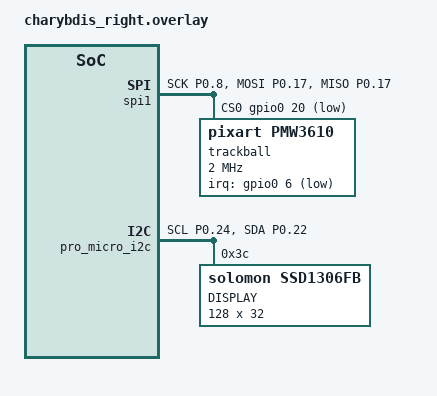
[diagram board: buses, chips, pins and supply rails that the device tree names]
#include "charybdis.dtsi"

&default_transform {
	col-offset = <6>;
};

&kscan0 {
	compatible = "zmk,kscan-gpio-matrix";

	col-gpios
		= <&pro_micro 19 (GPIO_ACTIVE_HIGH | GPIO_PULL_DOWN)>
		, <&pro_micro 20 (GPIO_ACTIVE_HIGH | GPIO_PULL_DOWN)>
		, <&pro_micro 10 (GPIO_ACTIVE_HIGH | GPIO_PULL_DOWN)>
		, <&pro_micro 6 (GPIO_ACTIVE_HIGH | GPIO_PULL_DOWN)>
		, <&pro_micro 7 (GPIO_ACTIVE_HIGH | GPIO_PULL_DOWN)>
		, <&pro_micro 8 (GPIO_ACTIVE_HIGH | GPIO_PULL_DOWN)>
		;

	row-gpios
		= <&pro_micro 18 GPIO_ACTIVE_HIGH>
		, <&pro_micro 5 GPIO_ACTIVE_HIGH>
		, <&pro_micro 4 GPIO_ACTIVE_HIGH>
		, <&pro_micro 9 GPIO_ACTIVE_HIGH>
		;
};

&pinctrl {
    spi1_default: spi1_default {
        group1 {
            psels = <NRF_PSEL(SPIM_SCK, 0, 8)>,
                <NRF_PSEL(SPIM_MOSI, 0, 17)>,
                <NRF_PSEL(SPIM_MISO, 0, 17)>;
        };
    };

    spi1_sleep: spi1_sleep {
        group1 {
            psels = <NRF_PSEL(SPIM_SCK, 0, 8)>,
                <NRF_PSEL(SPIM_MOSI, 0, 17)>,
                <NRF_PSEL(SPIM_MISO, 0, 17)>;
            low-power-enable;
        };
    };
};

&spi1 {
    status = "okay";
    compatible = "nordic,nrf-spim";
    pinctrl-0 = <&spi1_default>;
    pinctrl-1 = <&spi1_sleep>;
    pinctrl-names = "default", "sleep";
    cs-gpios = <&gpio0 20 GPIO_ACTIVE_LOW>;

    trackball: trackball@0 {
        status = "okay";
        compatible = "pixart,pmw3610";
        reg = <0>;
        spi-max-frequency = <2000000>;
        irq-gpios = <&gpio0 6 (GPIO_ACTIVE_LOW | GPIO_PULL_UP)>;
        // snipe-layers = <3 5>;
	      scroll-layers = <3 5>;
        // automouse-layer = <7>;
    };
};

/ {
  trackball_listener {
    compatible = "zmk,input-listener";
    device = <&trackball>;
  };
};

&pinctrl {
    i2c1_default: i2c1_default {
        group1 {
            psels = <NRF_PSEL(TWIM_SCL, 0, 24)>, /* SCL = P0.24 */
                    <NRF_PSEL(TWIM_SDA, 0, 22)>; /* SDA = P0.22 */
        };
    };

    i2c1_sleep: i2c1_sleep {
        group1 {
            psels = <NRF_PSEL(TWIM_SCL, 0, 24)>,
                    <NRF_PSEL(TWIM_SDA, 0, 22)>;
            low-power-enable;
        };
    };
};


&pro_micro_i2c {
    status = "okay";
    pinctrl-0 = <&i2c1_default>;
    pinctrl-1 = <&i2c1_sleep>;
    pinctrl-names = "default", "sleep";

    nice_view: ssd1306@3c {
        compatible = "solomon,ssd1306fb";
        reg = <0x3c>;
        label = "DISPLAY";
        width = <128>;
        height = <32>;
        segment-offset = <0>;
        page-offset = <0>;
        display-offset = <0>;
        multiplex-ratio = <31>;
        prechargep = <0x22>;
        inversion-on;
        segment-remap;
        com-invdir;
    };
};
